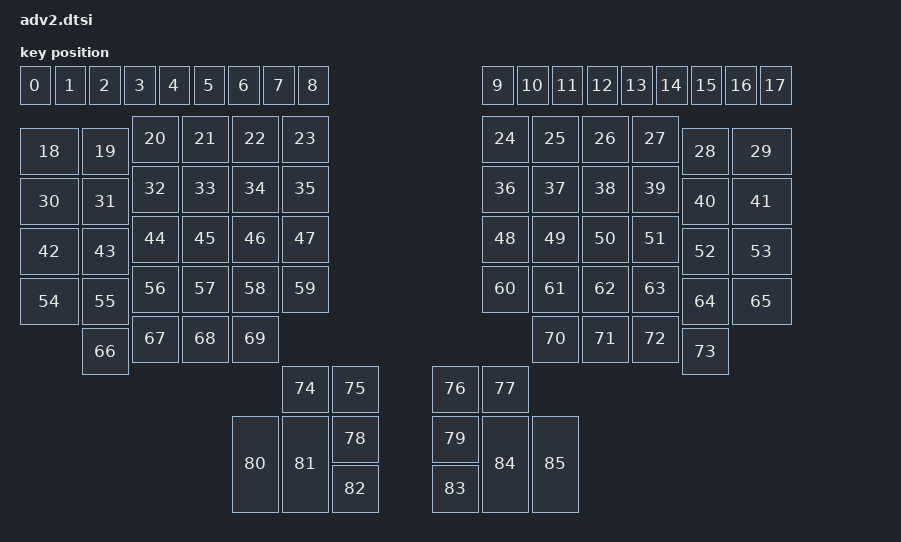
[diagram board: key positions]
#include <physical_layouts.dtsi>

/ {
    layout_0: layout_0 {
        compatible = "zmk,physical-layout";
        display-name = "Default";

        kscan = <&kscan_0>;
        transform = <&matrix_transform_0>;

        keys  //                     w   h    x    y     rot    rx    ry
            = <&key_physical_attrs  69  85    0    0       0     0     0>
            , <&key_physical_attrs  69  85   70    0       0     0     0>
            , <&key_physical_attrs  69  85  139    0       0     0     0>
            , <&key_physical_attrs  69  85  209    0       0     0     0>
            , <&key_physical_attrs  69  85  278    0       0     0     0>
            , <&key_physical_attrs  69  85  348    0       0     0     0>
            , <&key_physical_attrs  69  85  417    0       0     0     0>
            , <&key_physical_attrs  69  85  487    0       0     0     0>
            , <&key_physical_attrs  69  85  556    0       0     0     0>
            , <&key_physical_attrs  69  85  925    0       0     0     0>
            , <&key_physical_attrs  69  85  995    0       0     0     0>
            , <&key_physical_attrs  69  85 1064    0       0     0     0>
            , <&key_physical_attrs  69  85 1134    0       0     0     0>
            , <&key_physical_attrs  69  85 1203    0       0     0     0>
            , <&key_physical_attrs  69  85 1273    0       0     0     0>
            , <&key_physical_attrs  69  85 1342    0       0     0     0>
            , <&key_physical_attrs  69  85 1412    0       0     0     0>
            , <&key_physical_attrs  69  85 1481    0       0     0     0>
            , <&key_physical_attrs 125 100    0  125       0     0     0>
            , <&key_physical_attrs 100 100  125  125       0     0     0>
            , <&key_physical_attrs 100 100  225  100       0     0     0>
            , <&key_physical_attrs 100 100  325  100       0     0     0>
            , <&key_physical_attrs 100 100  425  100       0     0     0>
            , <&key_physical_attrs 100 100  525  100       0     0     0>
            , <&key_physical_attrs 100 100  925  100       0     0     0>
            , <&key_physical_attrs 100 100 1025  100       0     0     0>
            , <&key_physical_attrs 100 100 1125  100       0     0     0>
            , <&key_physical_attrs 100 100 1225  100       0     0     0>
            , <&key_physical_attrs 100 100 1325  125       0     0     0>
            , <&key_physical_attrs 125 100 1425  125       0     0     0>
            , <&key_physical_attrs 125 100    0  225       0     0     0>
            , <&key_physical_attrs 100 100  125  225       0     0     0>
            , <&key_physical_attrs 100 100  225  200       0     0     0>
            , <&key_physical_attrs 100 100  325  200       0     0     0>
            , <&key_physical_attrs 100 100  425  200       0     0     0>
            , <&key_physical_attrs 100 100  525  200       0     0     0>
            , <&key_physical_attrs 100 100  925  200       0     0     0>
            , <&key_physical_attrs 100 100 1025  200       0     0     0>
            , <&key_physical_attrs 100 100 1125  200       0     0     0>
            , <&key_physical_attrs 100 100 1225  200       0     0     0>
            , <&key_physical_attrs 100 100 1325  225       0     0     0>
            , <&key_physical_attrs 125 100 1425  225       0     0     0>
            , <&key_physical_attrs 125 100    0  325       0     0     0>
            , <&key_physical_attrs 100 100  125  325       0     0     0>
            , <&key_physical_attrs 100 100  225  300       0     0     0>
            , <&key_physical_attrs 100 100  325  300       0     0     0>
            , <&key_physical_attrs 100 100  425  300       0     0     0>
            , <&key_physical_attrs 100 100  525  300       0     0     0>
            , <&key_physical_attrs 100 100  925  300       0     0     0>
            , <&key_physical_attrs 100 100 1025  300       0     0     0>
            , <&key_physical_attrs 100 100 1125  300       0     0     0>
            , <&key_physical_attrs 100 100 1225  300       0     0     0>
            , <&key_physical_attrs 100 100 1325  325       0     0     0>
            , <&key_physical_attrs 125 100 1425  325       0     0     0>
            , <&key_physical_attrs 125 100    0  425       0     0     0>
            , <&key_physical_attrs 100 100  125  425       0     0     0>
            , <&key_physical_attrs 100 100  225  400       0     0     0>
            , <&key_physical_attrs 100 100  325  400       0     0     0>
            , <&key_physical_attrs 100 100  425  400       0     0     0>
            , <&key_physical_attrs 100 100  525  400       0     0     0>
            , <&key_physical_attrs 100 100  925  400       0     0     0>
            , <&key_physical_attrs 100 100 1025  400       0     0     0>
            , <&key_physical_attrs 100 100 1125  400       0     0     0>
            , <&key_physical_attrs 100 100 1225  400       0     0     0>
            , <&key_physical_attrs 100 100 1325  425       0     0     0>
            , <&key_physical_attrs 125 100 1425  425       0     0     0>
            , <&key_physical_attrs 100 100  125  525       0     0     0>
            , <&key_physical_attrs 100 100  225  500       0     0     0>
            , <&key_physical_attrs 100 100  325  500       0     0     0>
            , <&key_physical_attrs 100 100  425  500       0     0     0>
            , <&key_physical_attrs 100 100 1025  500       0     0     0>
            , <&key_physical_attrs 100 100 1125  500       0     0     0>
            , <&key_physical_attrs 100 100 1225  500       0     0     0>
            , <&key_physical_attrs 100 100 1325  525       0     0     0>
            , <&key_physical_attrs 100 100  525  600       0     0     0>
            , <&key_physical_attrs 100 100  625  600       0     0     0>
            , <&key_physical_attrs 100 100  825  600       0     0     0>
            , <&key_physical_attrs 100 100  925  600       0     0     0>
            , <&key_physical_attrs 100 100  625  700       0     0     0>
            , <&key_physical_attrs 100 100  825  700       0     0     0>
            , <&key_physical_attrs 100 200  425  700       0     0     0>
            , <&key_physical_attrs 100 200  525  700       0     0     0>
            , <&key_physical_attrs 100 100  625  800       0     0     0>
            , <&key_physical_attrs 100 100  825  800       0     0     0>
            , <&key_physical_attrs 100 200  925  700       0     0     0>
            , <&key_physical_attrs 100 200 1025  700       0     0     0>
            ;
    };
};
